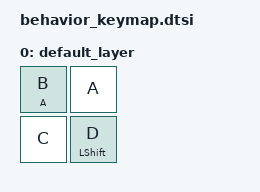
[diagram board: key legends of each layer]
#include <dt-bindings/zmk/keys.h>
#include <behaviors.dtsi>
#include <dt-bindings/zmk/kscan_mock.h>

/ {
    behaviors {
        lht: behavior_linger_hold_tap {
            compatible = "zmk,behavior-hold-tap";
            #binding-cells = <2>;
            flavor = "tap-preferred";
            tapping-term-ms = <200>;
            quick-tap-ms = <100>;
            linger-ms = <150>;
            bindings = <&kp>, <&kp>;
        };
    };

    keymap {
        compatible = "zmk,keymap";

        default_layer {
            bindings = <
                &lht A B &kp A
                &kp C &mt LSHIFT D
            >;
        };
    };
};
